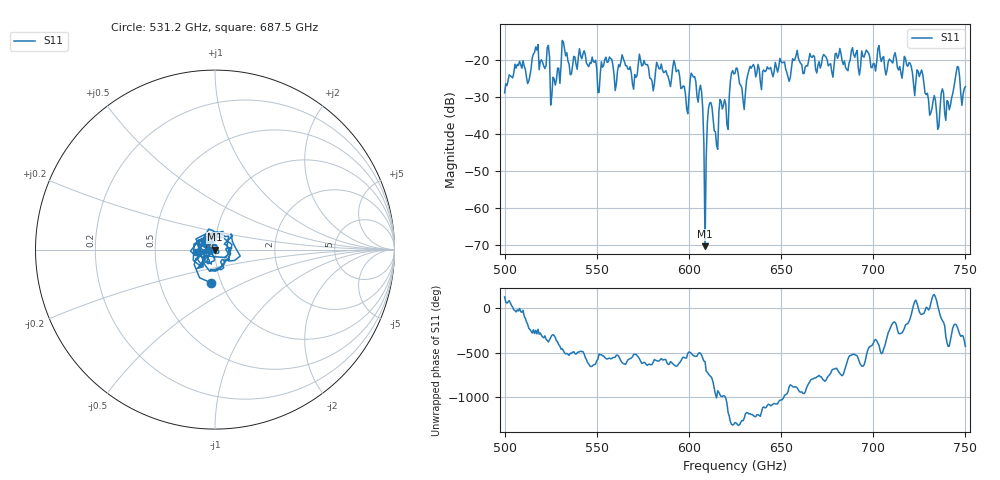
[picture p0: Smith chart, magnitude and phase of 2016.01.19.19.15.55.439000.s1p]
!Created with skrf (http://scikit-rf.org).
# GHz S RI R 50.0
!freq ReS11 ImS11
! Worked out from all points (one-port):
!   401 points, 500 GHz to 750 GHz, reference 50 ohm
!   lowest |S11| = -70.2 dB at 608.8 GHz (marker M1), VSWR 1.00, Z = 50 + j0.0269 ohm
!   |S11| at or under -10 dB: start of sweep to end of sweep
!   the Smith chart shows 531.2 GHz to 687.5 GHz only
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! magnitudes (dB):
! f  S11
! 500 GHz  -28.8
! 506.9 GHz  -21.1
! 513.1 GHz  -25.6
! 516.9 GHz  -16.3
! 523.1 GHz  -16.5
! 526.2 GHz  -24.5
! 531.2 GHz  -14.6
! 551.2 GHz  -28.6
! 562.5 GHz  -21.7
! 580 GHz  -25.5
! 593.8 GHz  -22.7
! 598.8 GHz  -33.0
! 601.9 GHz  -23.9
! 606.2 GHz  -26.7
! 608.8 GHz  -70.2
! 610 GHz  -36.8
! 611.2 GHz  -31.5
! 615 GHz  -43.0
! 625 GHz  -23.5
! 629.4 GHz  -30.9
! 633.8 GHz  -22.1
! 656.2 GHz  -19.5
! 687.5 GHz  -19.9
! 718.8 GHz  -21.6
! 735 GHz  -38.6
! 740.6 GHz  -31.1
! 745.6 GHz  -21.6
! 750 GHz  -27.1
